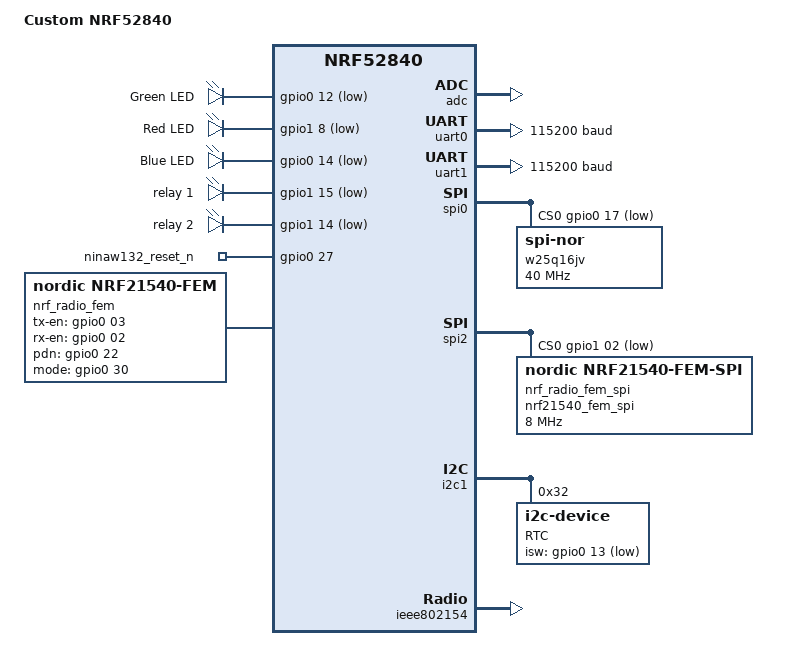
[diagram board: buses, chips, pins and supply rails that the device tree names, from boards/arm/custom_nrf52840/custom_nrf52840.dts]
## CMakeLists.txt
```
#
# Copyright (c) 2019 Peter Bigot Consulting, LLC
#
# SPDX-License-Identifier: Apache-2.0
#

cmake_minimum_required(VERSION 3.20.0)
set(PM_STATIC_YML_FILE ${CMAKE_CURRENT_SOURCE_DIR}/pm_static.yml)
message(STATUS "PM_STATIC_YML_FILE: ${PM_STATIC_YML_FILE}")

# if (CONFIG_SETTINGS_FCB OR CONFIG_SETTINGS_NVS)
#   ncs_add_partition_manager_config(pm.yml.settings)
# endif()

find_package(Zephyr REQUIRED HINTS $ENV{ZEPHYR_BASE})
project(littlefs)

FILE(GLOB app_sources src/*.c)
target_sources(app PRIVATE ${app_sources})
```

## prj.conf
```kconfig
#
# Copyright (c) 2019 Peter Bigot Consulting, LLC
#
# SPDX-License-Identifier: Apache-2.0
#

# Optionally force the file system to be recreated
#CONFIG_APP_WIPE_STORAGE=y

# fs_dirent structures are big.
CONFIG_MAIN_STACK_SIZE=4096

# Let __ASSERT do its job
CONFIG_DEBUG=y

CONFIG_LOG=y
CONFIG_LOG_MODE_MINIMAL=y

CONFIG_FLASH=y
CONFIG_FLASH_MAP=y
CONFIG_FLASH_PAGE_LAYOUT=y

CONFIG_FILE_SYSTEM=y
CONFIG_FILE_SYSTEM_LITTLEFS=y

CONFIG_SPI=y
CONFIG_SPI_NOR=y
CONFIG_SPI_NOR_FLASH_LAYOUT_PAGE_SIZE=4096

CONFIG_USE_SEGGER_RTT=y
CONFIG_BT_DEBUG_MONITOR_RTT=y
CONFIG_PRINTK=y
CONFIG_CONSOLE=y
CONFIG_UART_CONSOLE=n
CONFIG_RTT_CONSOLE=y
CONFIG_LOG=y
CONFIG_LOG_BACKEND_UART=n

CONFIG_WATCHDOG=n
CONFIG_WDT_DISABLE_AT_BOOT=n


CONFIG_USE_DT_CODE_PARTITION=y
CONFIG_PARTITION_MANAGER_ENABLED=y
```

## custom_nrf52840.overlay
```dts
// device tree overlay for Spyder custom board
// here indicate the external flash is used by board in App image
//
/ {
    chosen {
        nordic,pm-ext-flash = &w25q16jv;
        zephyr,entropy = &rng;
    };

};
```

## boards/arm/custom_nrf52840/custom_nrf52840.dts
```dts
// Copyright (c) 2023 Nordic Semiconductor ASA
// SPDX-License-Identifier: Apache-2.0

/dts-v1/;
#include <nordic/nrf52840_qiaa.dtsi>
#include "custom_nrf52840-pinctrl.dtsi"
#include <zephyr/dt-bindings/input/input-event-codes.h>

/ {
    model = "Custom NRF52840";
    compatible = "assa-abloy,custom-nrf52840";

    chosen {
        zephyr,console = &uart0;
        zephyr,shell-uart = &uart0;
        zephyr,uart-mcumgr = &uart0;
        zephyr,bt-mon-uart = &uart0;
        zephyr,bt-c2h-uart = &uart0;
        zephyr,sram = &sram0;
        zephyr,flash = &flash0;
        zephyr,code-partition = &slot0_partition;
        zephyr,ieee802154 = &ieee802154;
        nordic,pm-ext-flash = &w25q16jv;
    };

    leds {
        compatible = "gpio-leds";
        led_g: led_g {
            gpios = <&gpio0 12 GPIO_ACTIVE_LOW>;
            label = "Green LED";
        };
        led_r: led_r {
            gpios = <&gpio1 8 GPIO_ACTIVE_LOW>;
            label = "Red LED";
        };

        led_b: led_b {
            gpios = <&gpio0 14 GPIO_ACTIVE_LOW>;
            label = "Blue LED";
        };



        relay_1: relay_1{
			gpios = <&gpio1 15 GPIO_ACTIVE_LOW>;
			label = "relay 1";
		};

		relay_2: relay_2{
			gpios = <&gpio1 14 GPIO_ACTIVE_LOW>;
			label = "relay 2";
		};
        
        ninaw132_reset_n: ninaw132_reset_n{
			gpios = <&gpio0 27 GPIO_ACTIVE_HIGH>;
			label = "ninaw132_reset_n";
		};
    };   

    buttons {
        compatible = "gpio-keys";

    };

    nrf_radio_fem: nrf21540_fem {
        compatible = "nordic,nrf21540-fem";
        tx-en-gpios = <&gpio0 03 GPIO_ACTIVE_HIGH>;
        rx-en-gpios = <&gpio0 02 GPIO_ACTIVE_HIGH>;
        pdn-gpios = <&gpio0 22 GPIO_ACTIVE_HIGH>;
        mode-gpios = <&gpio0 30 GPIO_ACTIVE_HIGH>;
        spi-if = <&fem_spi>;
    };

    /* These aliases are provided for compatibility with samples */
    aliases {
        ledr=&led_r;
        ledg=&led_g;
        ledb=&led_b;
        relay1 =&relay_1;
        relay2= &relay_2;
        watchdog0 = &wdt0;
        spi-flash0 = &w25q16jv;
        ninaw132reset = &ninaw132_reset_n;
    };
};

&adc {
    status = "okay";
};

&uicr {
    gpio-as-nreset;
};

&gpiote {
    status = "okay";
};

&gpio0 {
    status = "okay";
};

&gpio1 {
    status = "okay";
};

&uart0 {
    compatible = "nordic,nrf-uarte";
    status = "okay";
    current-speed = <115200>;
    pinctrl-0 = <&uart0_default>;
    pinctrl-1 = <&uart0_sleep>;
    pinctrl-names = "default", "sleep";
};

&uart1 {
    compatible = "nordic,nrf-uarte";
    status = "okay";
    current-speed = <115200>;
    pinctrl-0 = <&uart1_default>;
    pinctrl-1 = <&uart1_sleep>;
    pinctrl-names = "default", "sleep";
    hw-flow-control;
};

&spi0 {
    compatible = "nordic,nrf-spim";
    /* Cannot be used together with i2c0. */
    status = "okay";
    pinctrl-0 = <&spi0_default>;
    pinctrl-1 = <&spi0_sleep>;
    pinctrl-names = "default", "sleep";
    cs-gpios = <&gpio0 17 GPIO_ACTIVE_LOW>;	

    w25q16jv: w25q16jv@0 {
        compatible = "jedec,spi-nor";
        reg = <0>;
        spi-max-frequency = <40000000>;
        size = < 0x1000000 >;
        has-dpd;
        t-enter-dpd = < 3000 >;
        t-exit-dpd = < 30000 >;
        jedec-id = [ ef 70 15  ];
    };
};

fem_spi: &spi2 {
    status = "okay";
    cs-gpios = <&gpio1 02 GPIO_ACTIVE_LOW>;
    nrf_radio_fem_spi: nrf21540_fem_spi@0 {
        compatible = "nordic,nrf21540-fem-spi";
        status = "okay";
        reg = <0>;
        spi-max-frequency = <8000000>;
    };
};

&spi2 {
    compatible = "nordic,nrf-spi";
    status = "okay";
    pinctrl-0 = <&spi2_default>;
    pinctrl-1 = <&spi2_sleep>;
    pinctrl-names = "default", "sleep";
};

&i2c0 {
    status = "disabled";
};

&i2c1 {
    compatible = "nordic,nrf-twi";
    status = "okay";
    pinctrl-0 = <&i2c1_default>;
    pinctrl-1 = <&i2c1_sleep>;
    pinctrl-names = "default", "sleep";
    status = "okay";
    rx8130: rx8130@32 {
        compatible = "i2c-device";
        label = "RTC";
        reg = <0x32>;
        isw-gpios = <&gpio0 13 (GPIO_PULL_UP | GPIO_ACTIVE_LOW)>;
    };
};

&ieee802154 {
    status = "okay";
};


&flash0 {

    partitions {
        compatible = "fixed-partitions";
        #address-cells = <1>;
        #size-cells = <1>;

        boot_partition: partition@0 {
            label = "mcuboot";
            reg = <0x00000000 0x0000C000>;
        };
        slot0_partition: partition@c000 {
            label = "image-0";
            reg = <0x0000C000 0x00076000>;
        };
        slot1_partition: partition@82000 {
            label = "image-1";
            reg = <0x00082000 0x00076000>;
        };

        /*
         * The flash starting at 0x000f8000 and ending at
         * 0x000fffff is reserved for use by the application.
         */

        /*
         * Storage partition will be used by FCB/LittleFS/NVS
         * if enabled.
         */
        storage_partition: partition@f8000 {
            label = "storage";
            reg = <0x000f8000 0x00008000>;
        };
    };
};

zephyr_udc0: &usbd {
    compatible = "nordic,nrf-usbd";
    status = "disabled";
};
```

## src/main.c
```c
/*
 * Copyright (c) 2022 Lukasz Majewski, DENX Software Engineering GmbH
 * Copyright (c) 2019 Peter Bigot Consulting, LLC
 *
 * SPDX-License-Identifier: Apache-2.0
 */

/* Sample which uses the filesystem API with littlefs */

#include <stdio.h>

#include <zephyr/kernel.h>
#include <zephyr/device.h>
#include <zephyr/fs/fs.h>
#include <zephyr/fs/littlefs.h>
#include <zephyr/logging/log.h>
#include <zephyr/storage/flash_map.h>
#include "filefs.h"
#include <zephyr/drivers/watchdog.h>
#include <zephyr/sys/printk.h>
#include <stdbool.h>

LOG_MODULE_REGISTER(main);
#define SIZE_BUFF 256
#define NUMBER 256
#define WRITE_SIZE 64

/* size of stack area used by each thread */
#define STACKSIZE 4096

/* scheduling priority used by each thread */
#define PRIORITY 7


typedef struct log
{
	uint8_t data[SIZE_BUFF];
} log;

uint8_t write[SIZE_BUFF];
uint8_t read[SIZE_BUFF];
struct fs_file_t filelog;

void file_task(void)
{
	 file_system_init();

	memset(write, 9, SIZE_BUFF);
	write[0] = 10;
	write[1] = 20;
	LOG_INF("Write file");
	uint32_t system_tick = sys_clock_tick_get_32();
	 fs_write_file_index("",  USER_INFOR_FULL_PATH, write, SIZE_BUFF, 0);
	uint32_t elapsed_ms = k_cyc_to_ms_near32((sys_clock_tick_get_32() - system_tick));
	LOG_INF("Write file take %dms", elapsed_ms);
	
	// test read file
	memset(read, 0, SIZE_BUFF);
	LOG_INF("READ file");
	system_tick = sys_clock_tick_get_32();
	fs_read_file_index("",  USER_INFOR_FULL_PATH, read, SIZE_BUFF, 0);
	elapsed_ms = k_cyc_to_ms_near32((sys_clock_tick_get_32() - system_tick));
	LOG_INF("READ file take %dms", elapsed_ms);
    
	if(memcmp(read,write, SIZE_BUFF) ==0 ){
 	LOG_INF("Test successfull");
	}else{
	LOG_INF("Test Fail");
	}

	while (1)
	{

		k_msleep(500);
	}
}


K_THREAD_DEFINE(file_id, STACKSIZE, file_task, NULL, NULL, NULL,
								PRIORITY, 0, 0);
```

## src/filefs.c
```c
/********************************************************************
 * COPYRIGHT (C) 2024 Assa Abloy. All rights reserved.
 *
 * This file is part of Havasu and is proprietary to Assa Abloy.
 *
 * No part of this file may be copied, reproduced, modified, published,
 * uploaded, posted, transmitted, or distributed in any way, without
 * the prior written permission of Assa Abloy.
 *
 * Created by: FPT Software. Date: Feb 01, 2024
 ********************************************************************/

#include <zephyr/kernel.h>
#include <zephyr/device.h>
#include <zephyr/fs/fs.h>
#include <zephyr/fs/littlefs.h>
#include <zephyr/logging/log.h>
#include <zephyr/storage/flash_map.h>
#include "filefs.h"
#include <zephyr/drivers/flash.h>
#include <zephyr/devicetree.h>
#include <stdio.h>
#include <string.h>

#define FILE_ACCESS_MUTEX_TIMEOUT_MS 1000

LOG_MODULE_DECLARE(app, 4);

FS_LITTLEFS_DECLARE_DEFAULT_CONFIG(storage);
static struct fs_mount_t lfs_storage_mnt = {
    .type = FS_LITTLEFS,
    .fs_data = &storage,
    .storage_dev = (void *)FIXED_PARTITION_ID(littlefs_storage),
    .mnt_point =  DISK_MOUNT_PT,
};
struct fs_mount_t *mountpoint = &lfs_storage_mnt;

static int littlefs_flash_erase(unsigned int id);
static bool  fs_create_all_file();
static int get_file_infor(const char *fileName);
static int  disk_deinit();
static int  disk_init();

static int littlefs_mount(struct fs_mount_t *mp)
{
  int rc;

  rc = littlefs_flash_erase((uintptr_t)mp->storage_dev);
  if (rc < 0)
  {
    return rc;
  }

  rc = fs_mount(mp);
  if (rc < 0)
  {
    LOG_PRINTK("FAIL: mount id %" PRIuPTR " at %s: %d\n",
               (uintptr_t)mp->storage_dev, mp->mnt_point, rc);
    return rc;
  }
  LOG_PRINTK("%s mount: %d\n", mp->mnt_point, rc);

  return 0;
}

static int lsdir(const char *path)
{
  int res;
  struct fs_dir_t dirp;
  static struct fs_dirent entry;

  fs_dir_t_init(&dirp);

  /* Verify fs_opendir() */
  res = fs_opendir(&dirp, path);
  if (res)
  {
    LOG_ERR("Error opening dir %s [%d]\n", path, res);
    return res;
  }

  LOG_PRINTK("\nListing dir %s ...\n", path);
  for (;;)
  {
    /* Verify fs_readdir() */
    res = fs_readdir(&dirp, &entry);

    /* entry.name[0] == 0 means end-of-dir */
    if (res || entry.name[0] == 0)
    {
      if (res < 0)
      {
        LOG_ERR("Error reading dir [%d]\n", res);
      }
      break;
    }

    if (entry.type == FS_DIR_ENTRY_DIR)
    {
      LOG_PRINTK("[DIR ] %s\n", entry.name);
    }
    else
    {
      LOG_PRINTK("[FILE] %s (size = %zu)\n", entry.name, entry.size);
    }
  }

  /* Verify fs_closedir() */
  fs_closedir(&dirp);

  return res;
}

static int littlefs_flash_erase(unsigned int id)
{
  const struct flash_area *pfa;
  int rc;

  rc = flash_area_open(id, &pfa);
  if (rc < 0)
  {
    LOG_ERR("FAIL: unable to find flash area %u: %d\n", id, rc);
    return rc;
  }

  LOG_PRINTK("<FS>Area %u at 0x%x on %s for %u bytes\n",
             id,
             (unsigned int)pfa->fa_off,
             pfa->fa_dev->name,
             (unsigned int)pfa->fa_size);

  /* Optional wipe flash contents */
  if (IS_ENABLED(CONFIG_APP_WIPE_STORAGE))
  {
    rc = flash_area_erase(pfa, 0, pfa->fa_size);
    LOG_ERR("Erasing flash area ... %d", rc);
  }

  flash_area_close(pfa);
  return rc;
}

static uint8_t  fs_file_exist(const char *full_path_file);

bool  flash_earse_region(off_t region_offset, size_t sector_size)
{
  const struct device *flash_dev = DEVICE_DT_GET(DT_ALIAS(spi_flash0));

  if (!device_is_ready(flash_dev))
  {
    LOG_ERR("%s: device not ready.\n", flash_dev->name);
    return false;
  }
  int rc = flash_erase(flash_dev, region_offset, sector_size);
  if (rc != 0)
  {
    return false;
  }
  else
  {
  }
  return true;
}

static bool  fs_create_all_file()
{
  return  fs_create_file( USER_INFOR_FULL_PATH, USER_FILE_SIZE);
}

int format_disk_and_create_file()
{
   disk_deinit();
  if (! flash_earse_region(SPI_FLASH_FS_REGION_OFFSET, SPI_FLASH_FS_SECTOR_SIZE))
  {
    LOG_ERR("FS-INIT:Error format flash");
    
    return -1;
  }
   disk_init();
  LOG_INF("<FS> Format disk successfully");
  bool flag =  fs_create_all_file();
  if (flag != true)
  {
    return -3;
  }
  return 0;
}

static int  disk_deinit()
{
  return fs_unmount(mountpoint);
}

static int  disk_init()
{
  struct fs_statvfs sbuf;
  int rc;
  rc = littlefs_mount(mountpoint);
  if (rc < 0)
  {
    return -1;
  }
  rc = fs_statvfs(mountpoint->mnt_point, &sbuf);
  if (rc < 0)
  {
    LOG_INF("<FS> FAIL: statvfs: %d\n", rc);
    return 0;
  }

  LOG_INF("<FS> Littlefs infor: %s: bsize = %lu ; frsize = %lu ;"
          " blocks = %lu ; bfree = %lu\n",
          mountpoint->mnt_point,
          sbuf.f_bsize,
          sbuf.f_frsize,
          sbuf.f_blocks,
          sbuf.f_bfree);
  LOG_INF("<FS> Listing file in littlefs Paritition %s", mountpoint->mnt_point);
  rc = lsdir(mountpoint->mnt_point);
  if (rc < 0)
  {
    LOG_INF("FAIL: lsdir %s: %d\n", mountpoint->mnt_point, rc);
    return 0;
  }
  return 0;
}

bool  fs_create_file(const char *full_path_file, size_t size_file)
{
  bool res = false;
  LOG_INF("<FS> %s File %s size %d", __func__, full_path_file, size_file);

 

  struct fs_file_t file;
  fs_file_t_init(&file);
  if (fs_open(&file, full_path_file, FS_O_CREATE | FS_O_RDWR) != 0)
  {
    LOG_ERR("FS-Create File-ERR: create file %s", full_path_file);
   
    return res;
  }

  if (fs_truncate(&file, 0) != 0)
  {
    LOG_ERR("Failed to shirk file");
    res = -1;
    goto out;
  }

  if (fs_truncate(&file, size_file) != 0)
  {
    LOG_ERR("Failed to extend file to: %d bytes", size_file);
    res = -1;
    goto out;
  }
  res = 0;
out:
  fs_close(&file);
  return res == 0;
}

int  fs_read_file(const char *disk, const char *full_path_file, void *buff, size_t len)
{
  int res = 0;
  struct fs_file_t file;

  fs_file_t_init(&file);
  res = fs_open(&file, full_path_file, FS_O_READ);
  if (res != 0)
  {
    LOG_ERR("Failed to open file %s Err %d", full_path_file, res);
    return res;
  }
  res = fs_read(&file, buff, len);
  if (res < 0)
  {
    LOG_ERR("Error read file %s", full_path_file);
  }
  if (res != len)
  {
    LOG_ERR("Error len file %d bytes, you read %d bytes", res, len);
    res = 0;
  }
  fs_close(&file);
  return res;
}

int  fs_write_file(const char *disk, const char *full_path_file, void *buff, size_t len)
{
  int res = 0;
  struct fs_file_t file;
  
  fs_file_t_init(&file);
  res = fs_open(&file, full_path_file, FS_O_APPEND | FS_O_WRITE);
  if (res != 0)
  {
    LOG_ERR("Failed to open file %s err %d\n", full_path_file, res);
   
    return res;
  }

  res = fs_write(&file, buff, len);
  if (res < 0 || res != len)
  {
    LOG_ERR("Error write file %s , ret: %d\n", full_path_file, res);
    res = -1;
  }
  fs_close(&file);
  return res;
}

int  fs_write_file_index(const char *disk, const char *full_path_file, void *buff, size_t len, size_t index)
{
  int res = 0;
  struct fs_file_t file;
  fs_file_t_init(&file);
  res = fs_open(&file, full_path_file, FS_O_WRITE);
  if (res != 0)
  {
    LOG_ERR("Failed to open file %s err %d\n", full_path_file, res);
    return res;
  }
  res = fs_seek(&file, index, FS_SEEK_SET);
  if (res != 0)
  {
    LOG_ERR("Failed to seek file %s", full_path_file);
    res = -1;
    goto out;
  }
  res = fs_write(&file, buff, len);
  if (res < 0 || res != len)
  {
    LOG_ERR("Error write file %s", full_path_file);
    res = -1;
    goto out;
  }
  fs_sync(&file);
out:
  fs_close(&file);
 
  return res;
}

int  fs_read_file_index(const char *disk, const char *full_path_file, void *buff, size_t len, size_t index)
{
  int res = 0;
  struct fs_file_t file;
  fs_file_t_init(&file);
  res = fs_open(&file, full_path_file, FS_O_READ);
  if (res != 0)
  {
    LOG_ERR("Failed to open file %s error %d\n", full_path_file, res);
    return res;
  }
  res = fs_seek(&file, index, FS_SEEK_SET);
  if (res != 0)
  {
    LOG_ERR("Failed to seek file %s \n", full_path_file);
    res = -1;
    goto out;
  }
  res = fs_read(&file, buff, len);
  if (res < 0)
  {
    LOG_ERR("Error read file %s\n", full_path_file);
    res = -1;
    goto out;
  }

  if (res != len)
  {
    LOG_ERR("Error len file %d bytes, you read %d bytes, index %d\n", res, len, index);
    res = -1;
    goto out;
  }
out:
  fs_close(&file);
  return res;
}

static uint8_t  fs_file_exist(const char *full_path_file)
{
  // LOG_INF("<FS> %s %s", __func__, full_path_file);
  int res = 0;
  struct fs_file_t file;
  uint8_t rs = 0;

  fs_file_t_init(&file);
  res = fs_open(&file, full_path_file, FS_O_READ);
  if (res == 0)
  {
    fs_close(&file);
    LOG_INF("<FS> File %s exist", full_path_file);
    rs = FILE_EXIST;
    goto exit;
  }

  if (res == -ENOENT)
  {
    rs = FILE_NOT_EXIST;
    LOG_INF("<FS> File %s not exist", full_path_file);
    goto exit;
  }
  rs = FILE_ERROR;
exit:
  return rs;
}

static bool  fs_create_file_if_invalid()
{
  if ( fs_file_exist( USER_INFOR_FULL_PATH) == FILE_NOT_EXIST ||
      get_file_infor( USER_INFOR_FULL_PATH) != USER_FILE_SIZE )
  {
    return format_disk_and_create_file() == 0;
  }
  return true;
}

/*return file size*/
static int get_file_infor(const char *fileName)
{
  struct fs_file_t file;
  struct fs_dirent entry;
  int size = 0;
  fs_file_t_init(&file);
  int res = fs_open(&file, fileName, FS_O_READ);
  if (res != 0)
  {
    LOG_ERR("Failed to open file %s error %d\n", fileName, res);
    return -1;
  }
  if (fs_stat(fileName, &entry) != 0)
  {
    LOG_ERR("Fail to get file infor %s", fileName);
    fs_close(&file);
    return -1;
  }
  size = entry.size;
  LOG_INF("<FS> Check File %s size %d", fileName, entry.size);
  fs_close(&file);
  return size;
}

int  fs_clear_file(const char *full_path_file, int size)
{
  int res = 0;
  uint8_t buff[128];
  struct fs_file_t file;
  memset(buff, 0, sizeof(buff));
  fs_file_t_init(&file);
  res = fs_open(&file, full_path_file, FS_O_WRITE);
  if (res != 0)
  {
    LOG_ERR("Failed to open file %s error %d\n", full_path_file, res);
    return res;
  }
  res = fs_seek(&file, 0, FS_SEEK_SET);
  if (res != 0)
  {
    LOG_ERR("Failed to seek file %s \n", full_path_file);
    res = -1;
    goto out;
  }
  int write_size = 0;
  while (size > 0)
  {
    write_size = sizeof(buff) > size ? size : sizeof(buff);
    res = fs_write(&file, buff, write_size);
    if (res < 0 || res != write_size)
    {
      LOG_ERR("Error read file %s\n", full_path_file);
      res = -1;
      goto out;
    }
    size -= write_size;
  }

out:
  fs_close(&file);
  return res;
}

bool  file_system_init()
{
  /*check file*/
   disk_init();
  LOG_INF("Init file");
  return  fs_create_file_if_invalid();
}
```

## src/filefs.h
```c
#ifndef _FILE_SYSTEM_H_
#define _FILE_SYSTEM_H_

#ifdef __cplusplus
extern "C"
{
#endif
#include <stddef.h>
#include <zephyr/fs/fs_interface.h>

#define  DISK_MOUNT_PT "/lfs"

#define SPI_FLASH_FS_REGION_OFFSET 0x00000
#define SPI_FLASH_FS_SECTOR_SIZE 0x170000

/* User file system config */
#define  MAX_USER_SUPORT 256
#define  USER_INFOR_FILE_NAME "userinfo.dat"
#define  USER_INFOR_FULL_PATH  DISK_MOUNT_PT "/"  USER_INFOR_FILE_NAME
#define USER_FILE_SIZE 35328


  enum file_status
  {
    FILE_ERROR = 0x00,
    FILE_EXIST,
    FILE_NOT_EXIST,
  };

  bool  fs_create_file(const char *full_path_file, size_t size_file);

  int  fs_write_file(const char *disk, const char *full_path_file, void *buff, size_t len);

  int  fs_read_file(const char *disk, const char *full_path_file, void *buff, size_t len);

  int  fs_write_file_index(const char *disk, const char *full_path_file, void *buff, size_t len, size_t index);

  int  fs_read_file_index(const char *disk, const char *full_path_file, void *buff, size_t len, size_t index);

  int format_disk_and_create_file();

  bool  flash_earse_region(off_t region_offset, size_t sector_size);

  // int lsdir(const char *disk, const char *path);


  bool  file_system_init();

  // int  disk_init();
  int  fs_clear_file(const char *full_path_file, int size);

 #ifdef __cplusplus
}
#endif
#endif /*_FILE_SYSTEM_H_*/
```
